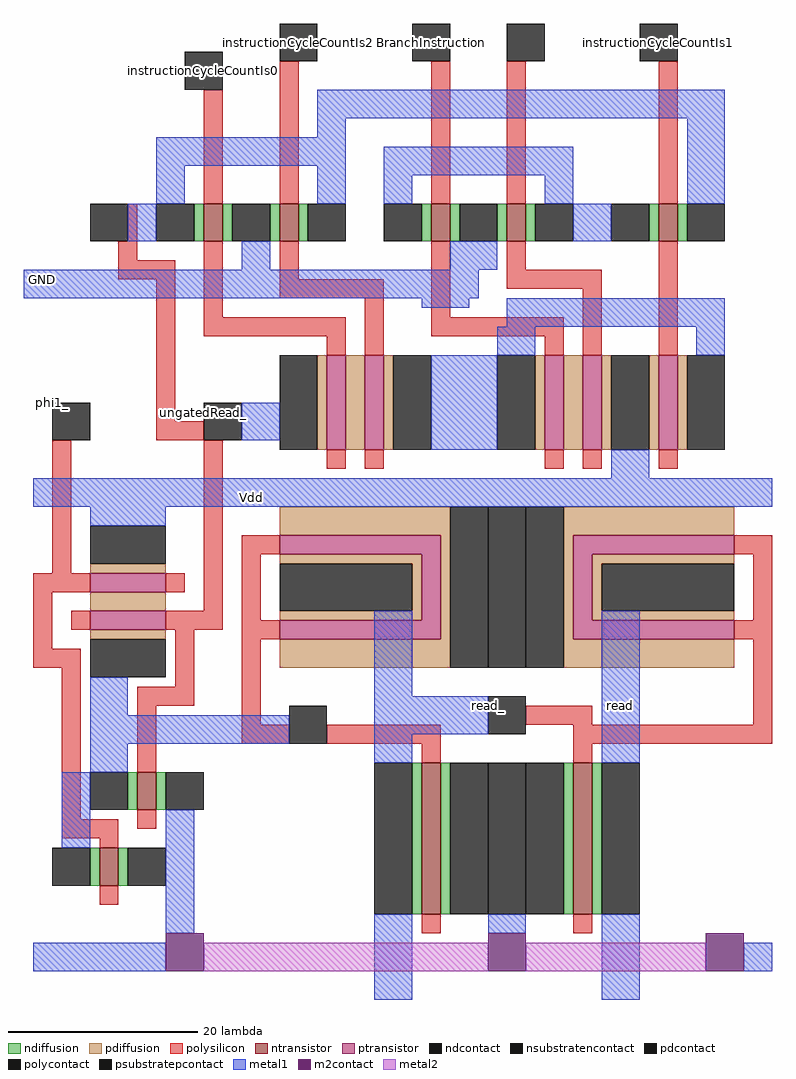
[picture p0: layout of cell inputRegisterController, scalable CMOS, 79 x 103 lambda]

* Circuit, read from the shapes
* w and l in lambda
.subckt inputRegisterController BranchInstruction GND InputInstruction Vdd instructionCycleCountIs0 instructionCycleCountIs1 instructionCycleCountIs2 phi1_ read read_ ungatedRead_
M1 VSUBS phi1_ n1 VSUBS nfet w=4 l=2
M2 VSUBS ungatedRead_ n1 VSUBS nfet w=4 l=2
M3 GND instructionCycleCountIs0 ungatedRead_ VSUBS nfet w=4 l=2
M4 ungatedRead_ instructionCycleCountIs2 GND VSUBS nfet w=4 l=2
M5 VSUBS n1 read_ VSUBS nfet w=16 l=2
M6 GND BranchInstruction n2 VSUBS nfet w=4 l=2
M7 n2 InputInstruction GND VSUBS nfet w=4 l=2
M8 read read_ VSUBS VSUBS nfet w=16 l=2
M9 ungatedRead_ instructionCycleCountIs1 n2 VSUBS nfet w=4 l=2
M10 n3 ungatedRead_ n1 Vdd pfet w=8 l=2
M11 Vdd phi1_ n3 Vdd pfet w=8 l=2
M12 Vdd n1 read_ Vdd pfet w=41 l=2
M13 n4 instructionCycleCountIs0 ungatedRead_ Vdd pfet w=10 l=2
M14 n5 instructionCycleCountIs2 n4 Vdd pfet w=10 l=2
M15 n6 BranchInstruction n5 Vdd pfet w=10 l=2
M16 Vdd read_ read Vdd pfet w=41 l=2
M17 Vdd InputInstruction n6 Vdd pfet w=10 l=2
M18 n5 instructionCycleCountIs1 Vdd Vdd pfet w=10 l=2
.ends

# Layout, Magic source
magic
tech scmos
<< polysilicon >>
rect -16 37 -14 49
rect -8 37 -6 52
rect 8 37 10 52
rect 16 37 18 52
rect 32 37 34 52
rect -24 33 -23 37
rect -25 31 -23 33
rect -25 29 -19 31
rect -21 14 -19 29
rect -16 25 -14 33
rect -8 29 -6 33
rect -8 27 3 29
rect -16 23 -1 25
rect -3 21 -1 23
rect 1 21 3 27
rect 8 25 10 33
rect 16 30 18 33
rect 16 28 26 30
rect 8 23 22 25
rect 20 21 22 23
rect 24 21 26 28
rect 32 21 34 33
rect -21 12 -16 14
rect -32 -2 -30 12
rect -34 -4 -28 -2
rect -20 -4 -18 -2
rect -34 -10 -32 -4
rect -16 -6 -14 12
rect -3 9 -1 11
rect 1 9 3 11
rect 20 9 22 11
rect 24 9 26 11
rect 32 9 34 11
rect -30 -8 -28 -6
rect -20 -8 -14 -6
rect -12 0 -8 2
rect -12 -7 -10 0
rect -34 -12 -29 -10
rect -31 -28 -29 -12
rect -19 -14 -17 -8
rect -23 -16 -17 -14
rect -12 -9 -8 -7
rect -23 -23 -21 -16
rect -12 -18 -10 -9
rect 40 0 44 2
rect 42 -7 44 0
rect 40 -9 44 -7
rect -12 -20 -7 -18
rect -3 -20 9 -18
rect 18 -18 25 -16
rect 42 -18 44 -9
rect 7 -22 9 -20
rect 23 -20 44 -18
rect 23 -22 25 -20
rect -31 -30 -25 -28
rect -23 -29 -21 -27
rect -27 -31 -25 -30
rect -27 -37 -25 -35
rect 7 -40 9 -38
rect 23 -40 25 -38
<< ndiffusion >>
rect -17 33 -16 37
rect -14 33 -13 37
rect -9 33 -8 37
rect -6 33 -5 37
rect 7 33 8 37
rect 10 33 11 37
rect 15 33 16 37
rect 18 33 19 37
rect 31 33 32 37
rect 34 33 35 37
rect -24 -27 -23 -23
rect -21 -27 -20 -23
rect -28 -35 -27 -31
rect -25 -35 -24 -31
rect 6 -38 7 -22
rect 9 -38 10 -22
rect 22 -38 23 -22
rect 25 -38 26 -22
<< pdiffusion >>
rect -28 -2 -20 -1
rect -28 -6 -20 -4
rect -4 11 -3 21
rect -1 11 1 21
rect 3 11 4 21
rect 19 11 20 21
rect 22 11 24 21
rect 26 11 27 21
rect 31 11 32 21
rect 34 11 35 21
rect -8 2 10 5
rect -8 -1 7 0
rect 6 -6 7 -1
rect -8 -7 7 -6
rect -28 -9 -20 -8
rect 9 -9 10 2
rect -8 -12 10 -9
rect 22 2 40 5
rect 22 -9 23 2
rect 25 -1 40 0
rect 25 -6 26 -1
rect 25 -7 40 -6
rect 22 -12 40 -9
<< metal1 >>
rect -4 46 39 49
rect -4 44 -1 46
rect -21 41 -1 44
rect -21 37 -18 41
rect -4 37 -1 41
rect -24 33 -21 37
rect 3 40 23 43
rect 3 37 6 40
rect 20 37 23 40
rect 35 37 39 46
rect 23 33 27 37
rect -12 30 -9 33
rect 10 30 15 33
rect -35 27 13 30
rect 7 26 12 27
rect 16 24 39 27
rect 15 21 19 24
rect 36 21 39 24
rect -12 12 -8 16
rect 8 11 15 21
rect 27 8 31 11
rect -34 5 44 8
rect -28 3 -20 5
rect -28 -17 -24 -13
rect 2 -15 6 -6
rect -28 -20 -7 -17
rect 2 -19 14 -15
rect -28 -23 -24 -20
rect 2 -22 6 -19
rect 26 -22 30 -6
rect -31 -31 -28 -23
rect -20 -40 -17 -27
rect -34 -44 -20 -41
rect 2 -47 6 -38
rect 14 -40 18 -38
rect 26 -47 30 -38
rect 41 -44 44 -41
<< metal2 >>
rect -16 -44 14 -41
rect 18 -44 37 -41
<< ntransistor >>
rect -16 33 -14 37
rect -8 33 -6 37
rect 8 33 10 37
rect 16 33 18 37
rect 32 33 34 37
rect -23 -27 -21 -23
rect -27 -35 -25 -31
rect 7 -38 9 -22
rect 23 -38 25 -22
<< ptransistor >>
rect -28 -4 -20 -2
rect -3 11 -1 21
rect 1 11 3 21
rect 20 11 22 21
rect 24 11 26 21
rect 32 11 34 21
rect -28 -8 -20 -6
rect -8 0 9 2
rect 7 -7 9 0
rect -8 -9 9 -7
rect 23 0 40 2
rect 23 -7 25 0
rect 23 -9 40 -7
<< polycontact >>
rect -18 49 -14 53
rect -8 52 -4 56
rect 6 52 10 56
rect 16 52 20 56
rect 30 52 34 56
rect -28 33 -24 37
rect -32 12 -28 16
rect -16 12 -12 16
rect -7 -20 -3 -16
rect 14 -19 18 -15
<< ndcontact >>
rect -21 33 -17 37
rect -13 33 -9 37
rect -5 33 -1 37
rect 3 33 7 37
rect 11 33 15 37
rect 19 33 23 37
rect 27 33 31 37
rect 35 33 39 37
rect -28 -27 -24 -23
rect -20 -27 -16 -23
rect -32 -35 -28 -31
rect -24 -35 -20 -31
rect 2 -38 6 -22
rect 10 -38 14 -22
rect 18 -38 22 -22
rect 26 -38 30 -22
<< pdcontact >>
rect -28 -1 -20 3
rect -8 11 -4 21
rect 4 11 8 21
rect 15 11 19 21
rect 27 11 31 21
rect 35 11 39 21
rect -8 -6 6 -1
rect -28 -13 -20 -9
rect 10 -12 14 5
rect 18 -12 22 5
rect 26 -6 40 -1
<< m2contact >>
rect -20 -44 -16 -40
rect 14 -44 18 -40
rect 37 -44 41 -40
<< psubstratepcontact >>
rect 14 -38 18 -22
<< nsubstratencontact >>
rect 14 -12 18 5
<< labels >>
rlabel metal1 -11 6 -11 6 5 Vdd
rlabel polycontact 14 -16 14 -16 1 read_
rlabel metal1 28 -16 28 -16 1 read
rlabel polycontact -16 15 -16 15 5 ungatedRead_
rlabel metal1 -33 29 -33 29 3 GND
rlabel polycontact -32 16 -32 16 4 phi1_
rlabel polycontact -16 51 -16 51 5 instructionCycleCountIs0
rlabel polycontact -6 54 -6 54 5 instructionCycleCountIs2
rlabel polycontact 8 54 8 54 5 BranchInstruction
rlabel polycontact 18 54 18 54 5 InputInstruction
rlabel polycontact 32 54 32 54 5 instructionCycleCountIs1
<< end >>
